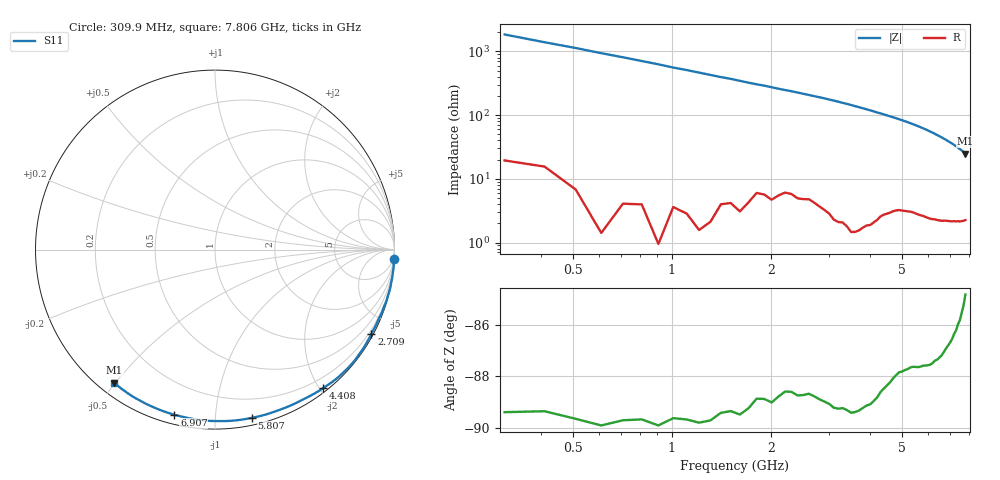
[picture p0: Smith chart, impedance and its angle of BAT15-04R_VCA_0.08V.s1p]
! Infineon Technologies  Discrete & RF Semiconductors
! BAT15-04R
! VCA = 0.08 V
! One-Port S-Parameters
# Hz  S  MA  R  50
!f  S11
!Hz  Mag  Ang
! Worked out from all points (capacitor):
!   76 points, 309.9 MHz to 7.806 GHz, reference 50 ohm
!   read as one part to ground: C = 278 fF near 309.9 MHz
!   lowest |Z| = 24.9 ohm at 7.806 GHz (marker M1)
!   S11 on the Smith chart (normalised r, x): 309.9 MHz: 0, -37; 2.709 GHz: 0.08, -3.97; 4.408 GHz: 0.05, -2.05; 5.807 GHz: 0.05, -1.24; 6.907 GHz: 0.04, -0.78; 7.806 GHz: 0.04, -0.50
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3.0985e8  0.9994 -3.1
9.0955e8  0.9998 -9.1
1.30935e9  0.9989 -13.3
1.6092e9  0.9975 -16.5
2.009e9  0.994 -20.7
2.2089e9  0.9905 -22.8
2.4088e9  0.9908 -24.9
2.70865e9  0.99 -28.3
2.90855e9  0.991 -30.5
3.2084e9  0.9928 -34.3
3.50825e9  0.9937 -38.3
3.70815e9  0.9923 -41.2
4.10795e9  0.9868 -47.2
4.4078e9  0.9793 -51.9
4.70765e9  0.9723 -56.8
5.0075e9  0.9669 -62.0
5.30735e9  0.9629 -67.5
5.6072e9  0.9614 -73.5
5.8071e9  0.9597 -77.7
6.007e9  0.9589 -82.1
6.2069e9  0.9571 -86.7
6.50675e9  0.9536 -93.9
6.70665e9  0.9506 -98.8
6.90655e9  0.9474 -103.8
7.10645e9  0.9447 -108.8
7.30635e9  0.9415 -113.9
7.6062e9  0.9358 -121.8
7.8061e9  0.9303 -127.1
